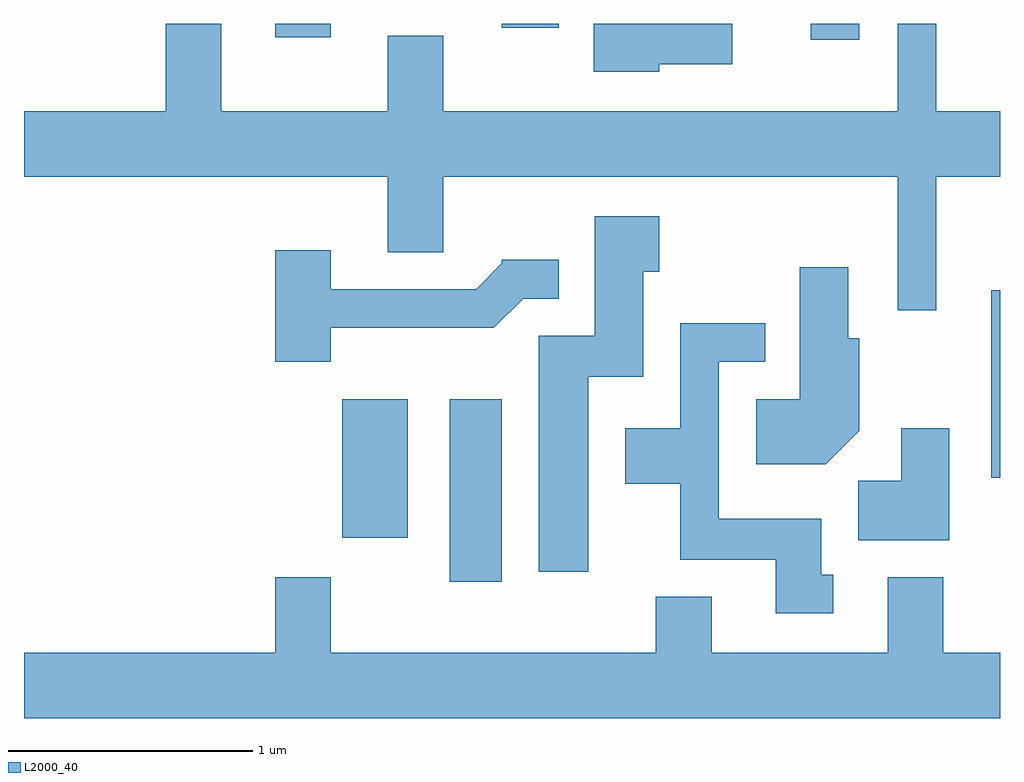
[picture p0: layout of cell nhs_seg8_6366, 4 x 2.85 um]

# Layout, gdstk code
import gdstk
lib = gdstk.Library(unit=1e-6, precision=1e-09)
def R(c, l, rs):  # rectangles x0, y0, x1, y1
    for r in rs: c.add(gdstk.rectangle(r[:2], r[2:], *l))
def P(c, l, *ps):  # polygons
    for p in ps: c.add(gdstk.Polygon(p, *l))
L2000_40 = (2000, 40)

nhs_seg8_6366 = lib.new_cell('nhs_seg8_6366')
R(nhs_seg8_6366, L2000_40, [(377.356,1868.056,377.569,1868.804), (376.916,1868.236,377.184,1868.804), (379.576,1868.481,379.611,1869.249), (378.836,1870.276,379.034,1870.342), (376.641,1870.286,376.869,1870.342)])
P(nhs_seg8_6366, L2000_40, [(379.349,1869.716),(379.611,1869.716),(379.611,1869.984),(379.349,1869.984),(379.349,1870.342),(379.191,1870.342),(379.191,1869.984),(377.329,1869.984),(377.329,1870.294),(377.101,1870.294),(377.101,1869.984),(376.419,1869.984),(376.419,1870.342),(376.191,1870.342),(376.191,1869.984),(375.611,1869.984),(375.611,1869.716),(377.101,1869.716),(377.101,1869.406),(377.329,1869.406),(377.329,1869.716),(379.191,1869.716),(379.191,1869.168),(379.349,1869.168)],
  [(377.803,1870.342),(377.568,1870.342),(377.57,1870.34),(377.57,1870.326),(377.803,1870.326)],
  [(378.214,1870.176),(378.514,1870.176),(378.514,1870.342),(377.946,1870.342),(377.946,1870.146),(378.214,1870.146)],
  [(377.924,1868.896),(378.149,1868.896),(378.149,1869.326),(378.214,1869.326),(378.214,1869.554),(377.951,1869.554),(377.951,1869.064),(377.721,1869.064),(377.721,1868.096),(377.924,1868.096)],
  [(376.869,1869.096),(377.537,1869.096),(377.657,1869.216),(377.803,1869.216),(377.803,1869.374),(377.57,1869.374),(377.57,1869.361),(377.464,1869.254),(376.869,1869.254),(376.869,1869.414),(376.641,1869.414),(376.641,1868.956),(376.869,1868.956)],
  [(379.034,1868.674),(379.034,1869.054),(378.989,1869.054),(378.989,1869.344),(378.791,1869.344),(378.791,1868.804),(378.611,1868.804),(378.611,1868.536),(378.897,1868.536)],
  [(378.928,1868.084),(378.879,1868.084),(378.879,1868.314),(378.459,1868.314),(378.459,1868.956),(378.648,1868.956),(378.648,1869.114),(378.301,1869.114),(378.301,1868.684),(378.076,1868.684),(378.076,1868.456),(378.301,1868.456),(378.301,1868.146),(378.691,1868.146),(378.691,1867.926),(378.928,1867.926)],
  [(379.404,1868.684),(379.206,1868.684),(379.206,1868.469),(379.031,1868.469),(379.031,1868.226),(379.404,1868.226)],
  [(379.611,1867.764),(379.379,1867.764),(379.379,1868.074),(379.151,1868.074),(379.151,1867.764),(378.429,1867.764),(378.429,1867.994),(378.201,1867.994),(378.201,1867.764),(376.869,1867.764),(376.869,1868.074),(376.641,1868.074),(376.641,1867.764),(375.611,1867.764),(375.611,1867.496),(379.611,1867.496)])

lib.write_gds('nhs_seg8_6366.gds')
